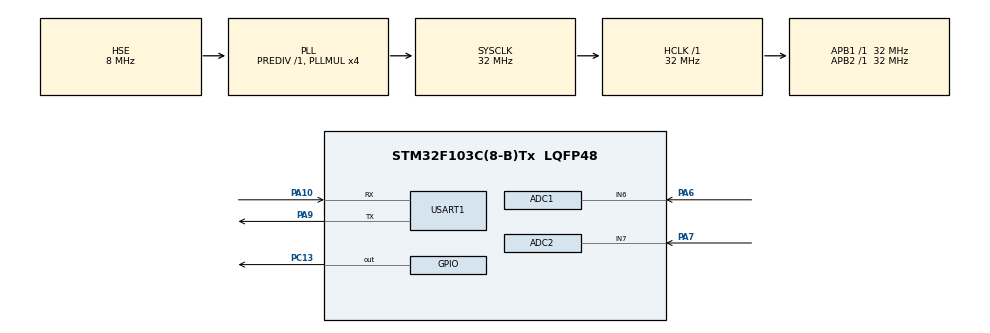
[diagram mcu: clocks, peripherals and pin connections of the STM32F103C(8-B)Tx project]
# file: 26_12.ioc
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ADC1.Channel-0\#ChannelRegularConversion=ADC_CHANNEL_6
ADC1.NbrOfConversionFlag=1
ADC1.Rank-0\#ChannelRegularConversion=1
ADC1.SamplingTime-0\#ChannelRegularConversion=ADC_SAMPLETIME_1CYCLE_5
ADC1.master=1
ADC2.Channel-1\#ChannelRegularConversion=ADC_CHANNEL_7
ADC2.NbrOfConversionFlag=1
ADC2.Rank-1\#ChannelRegularConversion=1
ADC2.SamplingTime-1\#ChannelRegularConversion=ADC_SAMPLETIME_1CYCLE_5
Mcu.Family=STM32F1
Mcu.Name=STM32F103C(8-B)Tx
Mcu.Package=LQFP48
NVIC.PriorityGroup=NVIC_PRIORITYGROUP_4
PA10.Mode=Asynchronous
PA10.Signal=USART1_RX
PA6.Signal=ADCx_IN6
PA7.Signal=ADCx_IN7
PA9.Mode=Asynchronous
PA9.Signal=USART1_TX
PC13-TAMPER-RTC.Signal=GPIO_Output
PD0-OSC_IN.Mode=HSE-External-Oscillator
PD0-OSC_IN.Signal=RCC_OSC_IN
PD1-OSC_OUT.Mode=HSE-External-Oscillator
PD1-OSC_OUT.Signal=RCC_OSC_OUT
ProjectManager.HeapSize=0x200
ProjectManager.StackSize=0x400
ProjectManager.TargetToolchain=STM32CubeIDE
RCC.ADCPresc=RCC_ADCPCLK2_DIV4
RCC.AHBFreq_Value=32000000
RCC.APB1Freq_Value=32000000
RCC.APB1TimFreq_Value=32000000
RCC.APB2Freq_Value=32000000
RCC.APB2TimFreq_Value=32000000
RCC.HCLKFreq_Value=32000000
RCC.PLLMUL=RCC_PLL_MUL4
RCC.PLLSourceVirtual=RCC_PLLSOURCE_HSE
RCC.SYSCLKFreq_VALUE=32000000
RCC.SYSCLKSource=RCC_SYSCLKSOURCE_PLLCLK
RCC.USBFreq_Value=32000000
SH.ADCx_IN6.0=ADC1_IN6,IN6
SH.ADCx_IN7.0=ADC2_IN7,IN7
USART1.VirtualMode=VM_ASYNC
board=custom

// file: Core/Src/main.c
/* USER CODE BEGIN Header */
/**
  ******************************************************************************
  * @file           : main.c
  * @brief          : Main program body
  ******************************************************************************
  * @attention
  *
  * Copyright (c) 2023 STMicroelectronics.
  * All rights reserved.
  *
  * This software is licensed under terms that can be found in the LICENSE file
  * in the root directory of this software component.
  * If no LICENSE file comes with this software, it is provided AS-IS.
  *
  ******************************************************************************
  */
/* USER CODE END Header */
#include "main.h"

ADC_HandleTypeDef hadc1;
ADC_HandleTypeDef hadc2;

UART_HandleTypeDef huart1;

void SystemClock_Config(void);
static void MX_GPIO_Init(void);
static void MX_ADC1_Init(void);
static void MX_USART1_UART_Init(void);
static void MX_ADC2_Init(void);

/* USER CODE BEGIN 0 */
#define CYCLE_MAX 50
#include <string.h>
#include <stdio.h>
#include <stdlib.h>
#include <stdbool.h>
uint32_t count,cycles,count_cycles[100],arr[100];
uint8_t data[4];
uint8_t arr_low[50];
uint8_t arr_high[50];
uint8_t arr_endline[50] = "\n\n";
uint32_t count_cycles_state(bool n) {
    count =0;
    while(HAL_GPIO_ReadPin(GPIOA, GPIO_PIN_5) == n) {
        count++;
	if(count > 50) {
		return count;
	}
    }
    return count;
}
void Read_DHT11(uint32_t* arr,uint8_t* data) {

  GPIO_InitTypeDef GPIO_InitStruct = {0};

  GPIO_InitStruct.Pull = GPIO_PULLUP;
  GPIO_InitStruct.Mode = GPIO_MODE_INPUT ;
  GPIO_InitStruct.Pin = GPIO_PIN_5;
  GPIO_InitStruct.Speed = GPIO_SPEED_FREQ_LOW;
  HAL_GPIO_Init(GPIOA, &GPIO_InitStruct);

  HAL_Delay(1);

  GPIO_InitStruct.Pull = GPIO_NOPULL;
  GPIO_InitStruct.Mode = GPIO_MODE_OUTPUT_PP  ;
  GPIO_InitStruct.Pin = GPIO_PIN_5;
  GPIO_InitStruct.Speed = GPIO_SPEED_FREQ_LOW;
  HAL_GPIO_Init(GPIOA, &GPIO_InitStruct);

  HAL_GPIO_WritePin(GPIOA, GPIO_PIN_5, 0);

  HAL_Delay(20);

  GPIO_InitStruct.Pull = GPIO_PULLUP;
  GPIO_InitStruct.Mode = GPIO_MODE_INPUT ;
  GPIO_InitStruct.Pin = GPIO_PIN_5;
  GPIO_InitStruct.Speed = GPIO_SPEED_FREQ_LOW;
  HAL_GPIO_Init(GPIOA, &GPIO_InitStruct);
  for(int i=0;i< 160;i++) {
	  __NOP();
  }
  while(HAL_GPIO_ReadPin(GPIOA, GPIO_PIN_5) == 0);
  while(HAL_GPIO_ReadPin(GPIOA, GPIO_PIN_5) == 1);

  for(int i=0; i< 100 ; i+=2) {
	  count_cycles[i] = count_cycles_state(0);
	  count_cycles[i+1] = count_cycles_state(1);
	  arr[i] = count_cycles[i];
	  arr[i+1] = count_cycles[i+1];
  }

  data[1] = 0x00;
  data[2] = 0x00;
  data[3] = 0x00;
  data[4] = 0x00;
  for (int i = 0; i < 40; ++i) {
	  uint32_t lowCycles = arr[2 * i];
	  uint32_t highCycles = arr[2 * i + 1];
	  if ((lowCycles >= CYCLE_MAX) || (highCycles >= CYCLE_MAX)) {
		  HAL_GPIO_TogglePin(GPIOC, GPIO_PIN_13);
	  }
	  data[i / 8] <<= 1;
	  if (highCycles > lowCycles) {
		  data[i / 8] |= 1;
	  }

  }
  uint8_t check_sum = ( data[0]+ data[1]+ data[2]+ data[3] ) & 0xFF;
  if(check_sum == data[4]) {

  }else {
	  while(1);
  }

}

/* USER CODE END 0 */

int main(void)
{
  /* USER CODE BEGIN 1 */
	uint8_t buffer[20]= "gia tri ADC la:";
	uint8_t chuoi[20];
	char chuoi_n[50];
	uint8_t chuoi_ret[1000];
	uint8_t chuoi_met[50];
	uint8_t chuoi1[20];
	uint8_t chuoi1_t[20];
	uint8_t stt[20]= "\n\n\n\n";
	uint16_t var_adc =0,var_adc_2=0;
	char buffer_adc[50],buffer_adc_2[50];
  /* USER CODE END 1 */

  /* MCU Configuration--------------------------------------------------------*/

  /* Reset of all peripherals, Initializes the Flash interface and the Systick. */
  HAL_Init();

  /* Configure the system clock */
  SystemClock_Config();

  /* Initialize all configured peripherals */
  MX_GPIO_Init();
  MX_ADC1_Init();
  MX_USART1_UART_Init();
  MX_ADC2_Init();
  /* USER CODE BEGIN 2 */
  HAL_ADC_Start(&hadc1);
  HAL_Delay(50);
  HAL_ADC_Start(&hadc2);
  HAL_Delay(50);
  /* USER CODE END 2 */

  /* Infinite loop */
  while (1)
  {

    /* USER CODE BEGIN 3 */
	  	  HAL_UART_Transmit(&huart1, buffer,strlen((const char*)buffer),10);
	  	  HAL_Delay(5000);
	  	  Read_DHT11(arr,data); // đ ?c dht11
	  	  float temp = data[2] + data[3]*0.1;
	  	  float humi = data[0] + data[1]*0.1;
	  	  int a =data[2];
	  	  int b =data[3];
	  	  int c =data[0];
	  	  int d =data[1];
	  	  char tx_humi[100];
	  	  char tx[100];
	  	  char space[]  = " ";
	  	  char end[] = "\r\n";
	  	  char total[300];
	  	  sprintf(tx_humi, "%d.%d", a, b);
	  	  sprintf(tx, "%d.%d", c, d);
	  	  var_adc = HAL_ADC_GetValue(&hadc1);   // đ ?c adc quang trở
	  	  var_adc_2 = HAL_ADC_GetValue(&hadc2);
	  	  sprintf(buffer_adc, "%ld", var_adc);
	  	  sprintf(buffer_adc_2, "%ld", var_adc_2);
	  	for(int i=0;i<300;i++) {
	  		  			  total[i] =0;
	  		  		  }
	  	  strcat(total,tx_humi);
	  	  strcat(total,space);
	  	  strcat(total,tx);
	  	  strcat(total,space);
	  	  strcat(total,buffer_adc);
	  	  strcat(total,space);
	  	  strcat(total,buffer_adc_2);
	  	  strcat(total,end);
	  //	  HAL_UART_Transmit(&huart1, total, strlen(total), 10);

	  	  HAL_Delay(3000);
	  	  unsigned char data[] = "AT\r\n";
	  	  HAL_UART_Transmit(&huart1, data, strlen(data), 10);
	  	  HAL_Delay(1000);

	  	  unsigned char data_tat[] = "AT+CGEREP=0\r\n";
	  	  HAL_UART_Transmit(&huart1, data_tat, strlen(data_tat), 10);
	  	  HAL_Delay(1000);

	  	  unsigned char data1[] = "AT+CMQTTSTART\r\n";
	  	  HAL_UART_Transmit(&huart1, data1, strlen(data1), 10);
	  	  HAL_Delay(1000);

	  	  unsigned char data2[] = "AT+CMQTTACCQ=0,\"clientID\"\r\n";
	  	  HAL_UART_Transmit(&huart1, data2, strlen(data2), 10);
	  	  HAL_Delay(1000);

	  	  while(1) {
	  		  Read_DHT11(arr,data);
	  		  a =data[2];
	  		  b =data[3];
	  		  c =data[0];
	  		  d =data[1];
	  		  sprintf(tx_humi, "%d.%d", a, b);
	  		  sprintf(tx, "%d.%d", c, d);
	  		  HAL_ADC_Start(&hadc1);
	  		  HAL_Delay(50);
	  		  var_adc = HAL_ADC_GetValue(&hadc1);   // đ ?c adc quang trở
	  		  HAL_ADC_Start(&hadc2);
	  		  HAL_Delay(50);
	  		  var_adc_2 = HAL_ADC_GetValue(&hadc2);
			  sprintf(buffer_adc, "%d", var_adc);
			  sprintf(buffer_adc_2, "%ld", var_adc_2);
	  		  for(int i=0;i<300;i++) {
	  			  total[i] =0;
	  		  }
	  		  strcat(total,tx_humi);
	  		  strcat(total,space);
	  		  strcat(total,tx);
	  		  strcat(total,space);
	  		  strcat(total,buffer_adc);
		  	  strcat(total,space);
		  	  strcat(total,buffer_adc_2);
	  		  strcat(total,end);
	  		  unsigned char data3[] = "AT+CMQTTCONNECT=0,\"tcp://test.mosquitto.org:1883\",60,0\r\n";
	  		  HAL_UART_Transmit(&huart1, data3, strlen(data3), 10);
	  		  HAL_Delay(1000);

	  		  unsigned char data4[] = "AT+CMQTTTOPIC=0,5\r\n";
	  		  HAL_UART_Transmit(&huart1, data4, strlen(data4), 10);
	  		  HAL_Delay(10);

	  		  unsigned char data5[] = "vonam\r\n";
	  		  HAL_UART_Transmit(&huart1, data5, strlen(data5), 10);
	  		  HAL_Delay(1000);

	  		  unsigned char data6[] = "AT+CMQTTPAYLOAD=0,19\r\n";
	  		  HAL_UART_Transmit(&huart1, data6, strlen(data6), 10);
	  		  HAL_Delay(10);

	  		  HAL_GPIO_TogglePin(GPIOC, GPIO_PIN_13);
	  		  HAL_UART_Transmit(&huart1, total, strlen(total), 500);
	  		  HAL_Delay(1000);

	  		  unsigned char data8[] = "AT+CMQTTPUB=0,1,60,0,0\r\n";
	  		  HAL_UART_Transmit(&huart1, data8, strlen(data8), 10);
	  		  HAL_Delay(1000);

	  		  unsigned char data9[] = "AT+CMQTTDISC=0,200\r\n";
	  		  HAL_UART_Transmit(&huart1, data9, strlen(data9), 10);
	  		  HAL_Delay(1000);
	  	  }
	  	  HAL_Delay(1000);

	    }
  }
  /* USER CODE END 3 */

void SystemClock_Config(void)
{
  RCC_OscInitTypeDef RCC_OscInitStruct = {0};
  RCC_ClkInitTypeDef RCC_ClkInitStruct = {0};
  RCC_PeriphCLKInitTypeDef PeriphClkInit = {0};

  /** Initializes the RCC Oscillators according to the specified parameters
  * in the RCC_OscInitTypeDef structure.
  */
  RCC_OscInitStruct.OscillatorType = RCC_OSCILLATORTYPE_HSE;
  RCC_OscInitStruct.HSEState = RCC_HSE_ON;
  RCC_OscInitStruct.HSEPredivValue = RCC_HSE_PREDIV_DIV1;
  RCC_OscInitStruct.HSIState = RCC_HSI_ON;
  RCC_OscInitStruct.PLL.PLLState = RCC_PLL_ON;
  RCC_OscInitStruct.PLL.PLLSource = RCC_PLLSOURCE_HSE;
  RCC_OscInitStruct.PLL.PLLMUL = RCC_PLL_MUL4;
  if (HAL_RCC_OscConfig(&RCC_OscInitStruct) != HAL_OK)
  {
    Error_Handler();
  }

  /** Initializes the CPU, AHB and APB buses clocks
  */
  RCC_ClkInitStruct.ClockType = RCC_CLOCKTYPE_HCLK|RCC_CLOCKTYPE_SYSCLK
                              |RCC_CLOCKTYPE_PCLK1|RCC_CLOCKTYPE_PCLK2;
  RCC_ClkInitStruct.SYSCLKSource = RCC_SYSCLKSOURCE_PLLCLK;
  RCC_ClkInitStruct.AHBCLKDivider = RCC_SYSCLK_DIV1;
  RCC_ClkInitStruct.APB1CLKDivider = RCC_HCLK_DIV1;
  RCC_ClkInitStruct.APB2CLKDivider = RCC_HCLK_DIV1;

  if (HAL_RCC_ClockConfig(&RCC_ClkInitStruct, FLASH_LATENCY_1) != HAL_OK)
  {
    Error_Handler();
  }
  PeriphClkInit.PeriphClockSelection = RCC_PERIPHCLK_ADC;
  PeriphClkInit.AdcClockSelection = RCC_ADCPCLK2_DIV4;
  if (HAL_RCCEx_PeriphCLKConfig(&PeriphClkInit) != HAL_OK)
  {
    Error_Handler();
  }
}

static void MX_ADC1_Init(void)
{

  ADC_ChannelConfTypeDef sConfig = {0};

  /** Common config
  */
  hadc1.Instance = ADC1;
  hadc1.Init.ScanConvMode = ADC_SCAN_DISABLE;
  hadc1.Init.ContinuousConvMode = DISABLE;
  hadc1.Init.DiscontinuousConvMode = DISABLE;
  hadc1.Init.ExternalTrigConv = ADC_SOFTWARE_START;
  hadc1.Init.DataAlign = ADC_DATAALIGN_RIGHT;
  hadc1.Init.NbrOfConversion = 1;
  if (HAL_ADC_Init(&hadc1) != HAL_OK)
  {
    Error_Handler();
  }

  /** Configure Regular Channel
  */
  sConfig.Channel = ADC_CHANNEL_6;
  sConfig.Rank = ADC_REGULAR_RANK_1;
  sConfig.SamplingTime = ADC_SAMPLETIME_1CYCLE_5;
  if (HAL_ADC_ConfigChannel(&hadc1, &sConfig) != HAL_OK)
  {
    Error_Handler();
  }

}

static void MX_ADC2_Init(void)
{

  ADC_ChannelConfTypeDef sConfig = {0};

  /** Common config
  */
  hadc2.Instance = ADC2;
  hadc2.Init.ScanConvMode = ADC_SCAN_DISABLE;
  hadc2.Init.ContinuousConvMode = DISABLE;
  hadc2.Init.DiscontinuousConvMode = DISABLE;
  hadc2.Init.ExternalTrigConv = ADC_SOFTWARE_START;
  hadc2.Init.DataAlign = ADC_DATAALIGN_RIGHT;
  hadc2.Init.NbrOfConversion = 1;
  if (HAL_ADC_Init(&hadc2) != HAL_OK)
  {
    Error_Handler();
  }

  /** Configure Regular Channel
  */
  sConfig.Channel = ADC_CHANNEL_7;
  sConfig.Rank = ADC_REGULAR_RANK_1;
  sConfig.SamplingTime = ADC_SAMPLETIME_1CYCLE_5;
  if (HAL_ADC_ConfigChannel(&hadc2, &sConfig) != HAL_OK)
  {
    Error_Handler();
  }

}

static void MX_USART1_UART_Init(void)
{

  huart1.Instance = USART1;
  huart1.Init.BaudRate = 115200;
  huart1.Init.WordLength = UART_WORDLENGTH_8B;
  huart1.Init.StopBits = UART_STOPBITS_1;
  huart1.Init.Parity = UART_PARITY_NONE;
  huart1.Init.Mode = UART_MODE_TX_RX;
  huart1.Init.HwFlowCtl = UART_HWCONTROL_NONE;
  huart1.Init.OverSampling = UART_OVERSAMPLING_16;
  if (HAL_UART_Init(&huart1) != HAL_OK)
  {
    Error_Handler();
  }

}

static void MX_GPIO_Init(void)
{
  GPIO_InitTypeDef GPIO_InitStruct = {0};

  /* GPIO Ports Clock Enable */
  __HAL_RCC_GPIOC_CLK_ENABLE();
  __HAL_RCC_GPIOD_CLK_ENABLE();
  __HAL_RCC_GPIOA_CLK_ENABLE();

  /*Configure GPIO pin Output Level */
  HAL_GPIO_WritePin(GPIOC, GPIO_PIN_13, GPIO_PIN_RESET);

  /*Configure GPIO pin : PC13 */
  GPIO_InitStruct.Pin = GPIO_PIN_13;
  GPIO_InitStruct.Mode = GPIO_MODE_OUTPUT_PP;
  GPIO_InitStruct.Pull = GPIO_NOPULL;
  GPIO_InitStruct.Speed = GPIO_SPEED_FREQ_LOW;
  HAL_GPIO_Init(GPIOC, &GPIO_InitStruct);

}

void Error_Handler(void)
{
  __disable_irq();
  while (1)
  {
  }
}
